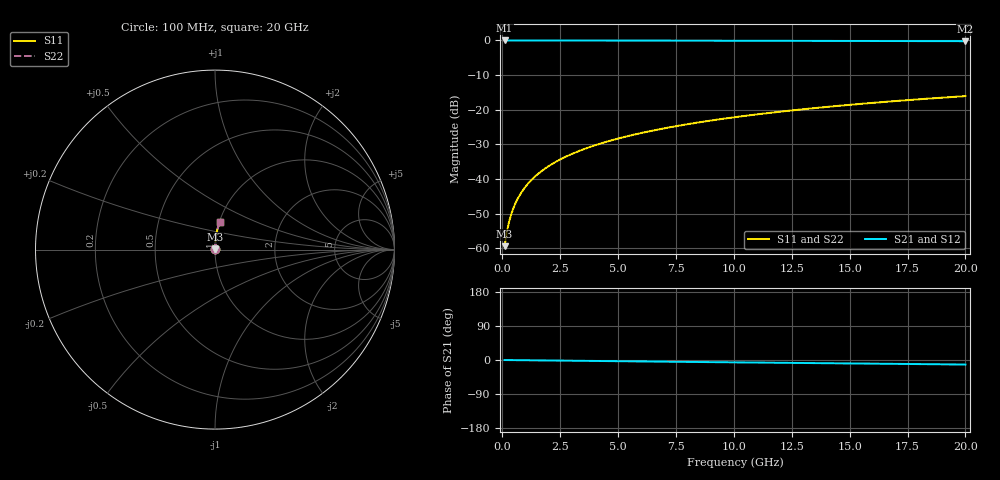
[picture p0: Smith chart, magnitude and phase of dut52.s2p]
! Touchstone file exported from HFSS 2024.1.0
!  File:  C:/UserFiles/LocalFiles/RDL_TSV_Batchsim/temp_RDL_top_52_1778681399.aedt
!  Generated:  10:11:50 PM May 13, 2026
!  Design:  RDL_top
!  Project:  temp_RDL_top_52_1778681399
!  Setup:  Setup1
!  Solution:  Sweep
! Variables:
!  dtsv = 10.80580581um
!  hbump = 3um
!  htsv = 84.81um
!  ldown = 100um
!  lrdl = 119.46um
!  p = 40
!  p1 = 51.37um
!  rhole = 1um
!  t = 450um
!  tdown = 3.915915916um
!  trdl = 4.98um
!  wdown = 15.38538539um
!  wrdl = 14.18um
# GHz S MA R 50.000000
! Terminal data exported
! Port[1] = Box2_T1
! Port[2] = Box2_T2
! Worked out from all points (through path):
!   200 points, 100 MHz to 20 GHz, reference 50 ohm
!   highest |S21| = -0.01 dB at 100 MHz (marker M1); lowest = -0.2 dB at 20 GHz (marker M2)
!   group delay of S21, straight-line fit = 1.65 ps
!   lowest |S11| = -59.4 dB at 100 MHz (marker M3), VSWR 1.00, Z = 50.1 + j0.0793 ohm
!   |S11| at or under -10 dB: start of sweep to end of sweep
!   |S22| runs from -59.4 to -16.1 dB; largest |S21 - S12| = 5.3e-15
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0.1  0.001072 47.6  0.9993 -0.1  0.9993 -0.1  0.001072 47.6
! Gamma 0 0 0 0
! Port Impedance 50 0 50 0
0.2  0.00174 64.7  0.9993 -0.1  0.9993 -0.1  0.00174 64.7
0.3  0.002465 71.9  0.9992 -0.2  0.9992 -0.2  0.002465 71.9
0.4  0.003204 75.8  0.9992 -0.3  0.9992 -0.3  0.003204 75.8
0.5  0.003948 78.3  0.9992 -0.3  0.9992 -0.3  0.003948 78.3
0.7  0.005447 81.3  0.9991 -0.5  0.9991 -0.5  0.005447 81.3
0.8  0.0062 82.2  0.9991 -0.5  0.9991 -0.5  0.0062 82.2
1  0.007711 83.6  0.999 -0.7  0.999 -0.7  0.007711 83.6
1.2  0.009227 84.5  0.999 -0.8  0.999 -0.8  0.009227 84.5
1.4  0.01075 85.1  0.9989 -0.9  0.9989 -0.9  0.01075 85.1
1.7  0.01303 85.8  0.9988 -1.1  0.9988 -1.1  0.01303 85.8
2  0.01531 86.2  0.9986 -1.3  0.9986 -1.3  0.01531 86.2
2.7  0.02065 86.8  0.9982 -1.8  0.9982 -1.8  0.02065 86.8
3.5  0.02678 87.0  0.9975 -2.3  0.9975 -2.3  0.02678 87.0
4.2  0.03215 87.1  0.9969 -2.7  0.9969 -2.7  0.03215 87.1
5  0.03833 87.0  0.9961 -3.2  0.9961 -3.2  0.03833 87.0
6.8  0.05234 86.7  0.994 -4.3  0.994 -4.3  0.05234 86.7
8.3  0.06416 86.2  0.9922 -5.2  0.9922 -5.2  0.06416 86.2
10.1  0.07846 85.4  0.9899 -6.3  0.9899 -6.3  0.07846 85.4
13.4  0.1049 83.8  0.9855 -8.2  0.9855 -8.2  0.1049 83.8
16.7  0.1312 81.9  0.9808 -10.1  0.9808 -10.1  0.1312 81.9
20  0.1572 79.9  0.9757 -11.9  0.9757 -11.9  0.1572 79.9
